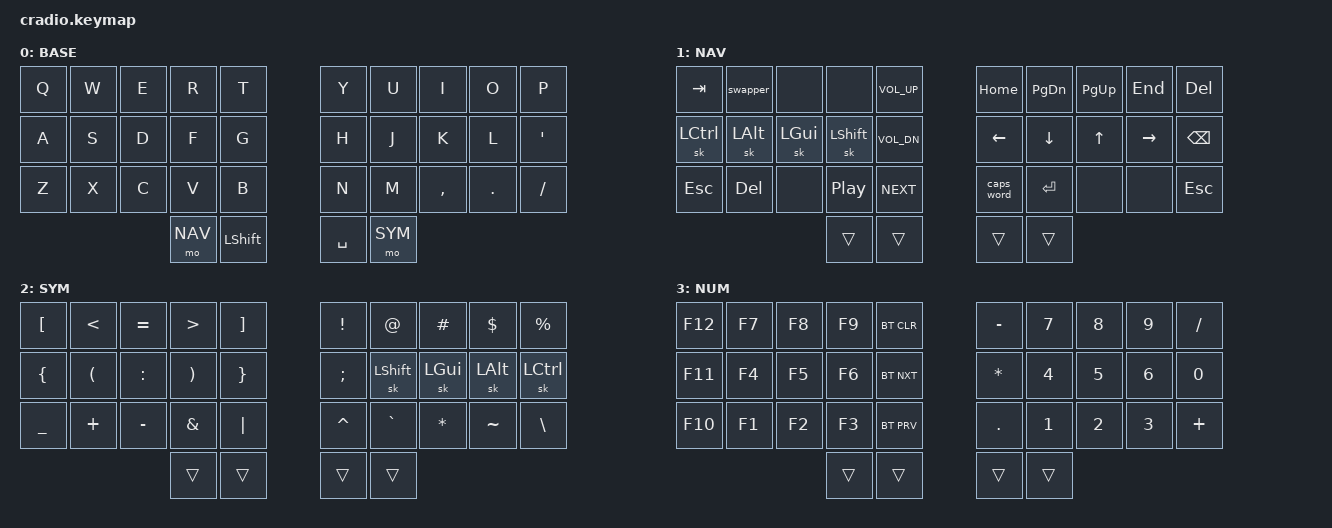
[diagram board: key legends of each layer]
// Copyright (c) 2022 The ZMK Contributors
// SPDX-License-Identifier: MIT

#include <behaviors.dtsi>
#include <dt-bindings/zmk/keys.h>
#include <dt-bindings/zmk/bt.h>
#include <dt-bindings/zmk/outputs.h>
#include <dt-bindings/zmk/ext_power.h>

#define BASE 0
#define NAV  1
#define SYM  2
#define NUM  3

&sk {
  release-after-ms = <5000>;
  ignore-modifiers;
};

/ {
    conditional_layers {
        compatible = "zmk,conditional-layers";
        tri_layer {
            if-layers = <NAV SYM>;
            then-layer = <NUM>;
        };
    };

    behaviors {
        swapper: swapper {
            compatible = "zmk,behavior-tri-state";
            label = "SWAPPER";
            #binding-cells = <0>;
            bindings = <&kt LGUI>, <&kp TAB>, <&kt LGUI>;
        };
        
    };

    keymap {
        compatible = "zmk,keymap";
        base_layer {
            label = "BASE";
            bindings = <
        //╭──────────┬──────────┬──────────┬──────────┬──────────╮   ╭──────────┬──────────┬──────────┬──────────┬──────────╮
        //│ Q        │ W        │ E        │ R        │ T        │   │ Y        │ U        │ I        │ O        │ P        │
            &kp Q      &kp W      &kp E      &kp R      &kp T          &kp Y      &kp U      &kp I      &kp O      &kp P
        //├──────────┼──────────┼──────────┼──────────┼──────────┤   ├──────────┼──────────┼──────────┼──────────┼──────────┤
        //│ A        │ S        │ D        │ F        │ G        │   │ H        │ J        │ K        │ L        │ ' "      │
            &kp A      &kp S      &kp D      &kp F      &kp G          &kp H      &kp J      &kp K      &kp L      &kp SQT
        //├──────────┼──────────┼──────────┼──────────┼──────────┤   ├──────────┼──────────┼──────────┼──────────┼──────────┤
        //│ Z        │ X        │ C        │ V        │ B        │   │ N        │ M        │ , <      │ . >      │ / ?      │
            &kp Z      &kp X      &kp C      &kp V      &kp B          &kp N      &kp M      &kp COMMA  &kp DOT    &kp FSLH
        //╰──────────┴──────────┴──────────┼──────────┼──────────┤   ├──────────┼──────────┼──────────┴──────────┴──────────╯
                                            &mo NAV     &kp LSHIFT     &kp SPACE  &mo SYM    
        //                                 ╰──────────┴──────────╯   ╰──────────┴──────────╯
            >;
        };

        nav_layer {
            label = "NAV";
            bindings = <
        //╭──────────┬──────────┬──────────┬──────────┬──────────╮   ╭──────────┬──────────┬──────────┬──────────┬──────────╮
        //│ TAB      │ SWAPPER  │          │          │ VOL+     │   │ HOME     │ PAGE DN  │ PAGE UP  │ END      │ DEL      │
            &kp TAB    &swapper   &none      &none      &kp C_VOL_UP   &kp HOME   &kp PG_DN  &kp PG_UP  &kp END    &kp DEL
        //├──────────┼──────────┼──────────┼──────────┼──────────┤   ├──────────┼──────────┼──────────┼──────────┼──────────┤
        //│ CTRL     │ ALT      │ CMD/GUI  │ SHIFT    │ VOL-     │   │ LEFT     │ DOWN     │ UP       │ RIGHT    │ BKSPC    │
            &sk LCTRL  &sk LALT   &sk LGUI   &sk LSHIFT &kp C_VOL_DN   &kp LEFT   &kp DOWN   &kp UP     &kp RIGHT  &kp BSPC
        //├──────────┼──────────┼──────────┼──────────┼──────────┤   ├──────────┼──────────┼──────────┼──────────┼──────────┤
        //│          │          │          │ PLAY     │ NEXT     │   │ CAPSWORD │ ENTER    │          │          │ ESC      │
            &kp ESC    &kp DEL    &none      &kp C_PP   &kp C_NEXT     &caps_word &kp ENTER  &none      &none      &kp ESC
        //╰──────────┴──────────┴──────────┼──────────┼──────────┤   ├──────────┼──────────┼──────────┴──────────┴──────────╯
                                             &trans     &trans         &trans     &trans
        //                                 ╰──────────┴──────────╯   ╰──────────┴──────────╯
            >;
        };

        sym_layer {
            label = "SYM";
            bindings = <
        //╭──────────┬──────────┬──────────┬──────────┬──────────╮   ╭──────────┬──────────┬──────────┬──────────┬──────────╮
        //│ [        │ <        │ =        │ >        │ ]        │   │ !        │ @        │ #        │ $        │ %        │
            &kp LBKT   &kp LT     &kp EQUAL  &kp GT     &kp RBKT       &kp EXCL   &kp AT     &kp HASH   &kp DLLR   &kp PRCNT
        //├──────────┼──────────┼──────────┼──────────┼──────────┤   ├──────────┼──────────┼──────────┼──────────┼──────────┤
        //│ {        │ (        │ :        │ )        │ }        │   │ ;        │ SHIFT    │ CMD/GUI  │ ALT      │ CTRL     │
            &kp LBRC   &kp LPAR   &kp COLON  &kp RPAR   &kp RBRC       &kp SEMI   &sk LSHIFT &sk LGUI   &sk LALT   &sk LCTRL
        //├──────────┼──────────┼──────────┼──────────┼──────────┤   ├──────────┼──────────┼──────────┼──────────┼──────────┤
        //│ _        │ +        │ -        │ &        │ |        │   │ ^        │ `        │ *        │ ~        │ \        │
            &kp UNDER  &kp PLUS   &kp MINUS  &kp AMPS   &kp PIPE       &kp CARET  &kp GRAVE  &kp STAR   &kp TILDE  &kp BSLH
        //╰──────────┴──────────┴──────────┼──────────┼──────────┤   ├──────────┼──────────┼──────────┴──────────┴──────────╯
                                             &trans     &trans         &trans     &trans
        //                                 ╰──────────┴──────────╯   ╰──────────┴──────────╯
            >;
        };

        num_layer {
            label = "NUM";
            bindings = <
        //╭──────────┬──────────┬──────────┬──────────┬──────────╮   ╭──────────┬──────────┬──────────┬──────────┬──────────╮
        //│ F12      │ F7       │ F8       │ F9       │ BT CLR   │   │ -        │ 7        │ 8        │ 9        │ /        │
            &kp F12    &kp F7     &kp F8     &kp F9     &bt BT_CLR     &kp MINUS  &kp N7     &kp N8     &kp N9     &kp FSLH
        //├──────────┼──────────┼──────────┼──────────┼──────────┤   ├──────────┼──────────┼──────────┼──────────┼──────────┤
        //│ F11      │ F4       │ F5       │ F6       │ BT NXT   │   │ *        │ 4        │ 5        │ 6        │ 0        │
            &kp F11    &kp F4     &kp F5     &kp F6     &bt BT_NXT     &kp STAR   &kp N4     &kp N5     &kp N6     &kp N0
        //├──────────┼──────────┼──────────┼──────────┼──────────┤   ├──────────┼──────────┼──────────┼──────────┼──────────┤
        //│ F10      │ F1       │ F2       │ F3       │ BT PRV   │   │ .        │ 1        │ 2        │ 3        │ +        │
            &kp F10    &kp F1     &kp F2     &kp F3     &bt BT_PRV     &kp DOT    &kp N1     &kp N2     &kp N3     &kp PLUS
        //╰──────────┴──────────┴──────────┼──────────┼──────────┤   ├──────────┼──────────┼──────────┴──────────┴──────────╯
                                             &trans     &trans         &trans     &trans
        //                                 ╰──────────┴──────────╯   ╰──────────┴──────────╯
            >;
        };
    };
};
